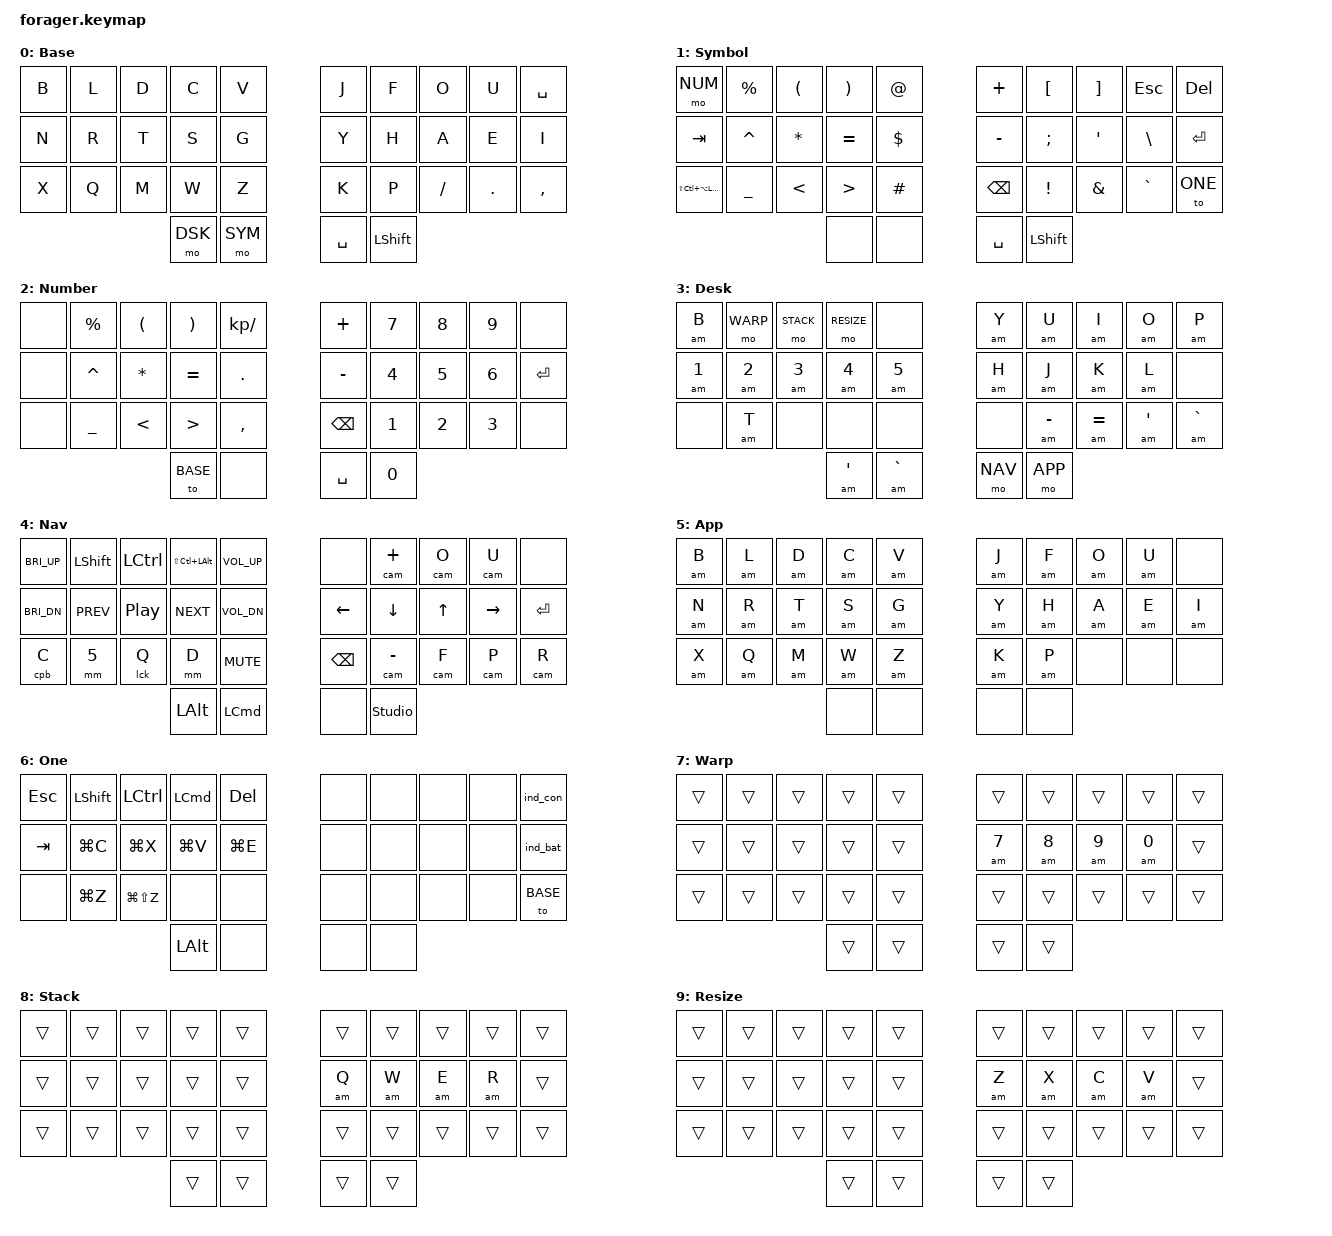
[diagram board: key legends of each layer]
// clang-format off
#include <behaviors.dtsi>
#include <dt-bindings/zmk/keys.h>
#include <dt-bindings/zmk/bt.h>
#include <dt-bindings/zmk/outputs.h>
#include <behaviors/rgbled_widget.dtsi>  // needed to use the behaviors

#define MEH   LS(LC(LALT))
// Hyper = Ctrl+Alt+Cmd+Shift, matching skhd's `hyper` keyword and the
// Voyager's LM()-based Hyper. Same nested-modifier-on-a-modifier-keycode
// trick as MEH above, one level deeper.
#define HYPER LS(LC(LA(LGUI)))

#define BASE   0
#define SYM    1
#define NUM    2
#define DSK    3
#define NAV    4
#define APP    5
#define ONE    6
#define WARP   7
#define STACK  8
#define RESIZE 9


/ {
    behaviors {

        // yabai scratchpad apps
        am: app_macro {
            compatible = "zmk,behavior-macro-one-param";
            wait-ms = <0>;
            tap-ms = <0>;
            #binding-cells = <1>;
            bindings
                = <&macro_press &kp LSHIFT &kp LCTRL &kp LALT &kp LCMD>
                , <&macro_param_1to1>
                , <&macro_tap &kp MACRO_PLACEHOLDER>
                , <&macro_release &kp LSHIFT &kp LCTRL &kp LALT &kp LCMD>
                ;
        };

        // NAV layer utils
        mm: misc_macro {
            compatible = "zmk,behavior-macro-one-param";
            wait-ms = <0>;
            tap-ms = <0>;
            #binding-cells = <1>;
            bindings
                = <&macro_press &kp LCMD &kp LSHIFT>
                , <&macro_param_1to1>
                , <&macro_tap &kp MACRO_PLACEHOLDER>
                , <&macro_release &kp LCMD &kp LSHIFT>
                ;
        };

        cpb: clipboard_macro {
            compatible = "zmk,behavior-macro-one-param";
            wait-ms = <0>;
            tap-ms = <0>;
            #binding-cells = <1>;
            bindings
                = <&macro_press &kp LCMD &kp LALT>
                , <&macro_param_1to1>
                , <&macro_tap &kp MACRO_PLACEHOLDER>
                , <&macro_release &kp LCMD &kp LALT>
                ;
        };


        lck: lock_screen_macro {
            compatible = "zmk,behavior-macro-one-param";
            wait-ms = <0>;
            tap-ms = <0>;
            #binding-cells = <1>;
            bindings
                = <&macro_press &kp LCMD &kp LCTRL>
                , <&macro_param_1to1>
                , <&macro_tap &kp MACRO_PLACEHOLDER>
                , <&macro_release &kp LCMD &kp LCTRL>
                ;
        };

        cam: camera_macro {
            compatible = "zmk,behavior-macro-one-param";
            wait-ms = <0>;
            tap-ms = <0>;
            #binding-cells = <1>;
            bindings
                = <&macro_press &kp LALT &kp LCTRL &kp LCMD>
                , <&macro_param_1to1>
                , <&kp MACRO_PLACEHOLDER>
                , <&macro_pause_for_release>
                , <&macro_release &kp LALT &kp LCTRL &kp LCMD>
                ;
        };


    };

    combos {
        compatible = "zmk,combos";
        combo_lcmd {
            timeout-ms = <35>;
            key-positions = <12 13>;
            bindings = <&kp LCMD>;
            layers = <0>;
        };

        combo_rcmd {
            timeout-ms = <35>;
            key-positions = <16 17>;
            bindings = <&kp LCMD>;
            layers = <0>;
        };

        combo_lalt {
            timeout-ms = <35>;
            key-positions = <11 12>;
            bindings = <&kp LALT>;
            layers = <0>;
        };

        combo_ralt {
            timeout-ms = <35>;
            key-positions = <17 18>;
            bindings = <&kp LALT>;
            layers = <0>;
        };

        combo_lctrl {
            timeout-ms = <35>;
            key-positions = <11 13>;
            bindings = <&kp LCTRL>;
            layers = <0>;
        };

        combo_rctrl {
            timeout-ms = <35>;
            key-positions = <16 18>;
            bindings = <&kp LCTRL>;
            layers = <0>;
        };

        combo_l_zellij_main {
            timeout-ms = <35>;
            key-positions = <11 12 13>;
            bindings = <&kp LS(LC(LCMD))>;
            layers = <0>;
        };

        combo_r_zellij_main {
            timeout-ms = <35>;
            key-positions = <16 17 18>;
            bindings = <&kp LS(LC(LCMD))>;
            layers = <0>;
        };

        combo_l_reset {
            timeout-ms = <35>;
            key-positions = <0 4>;
            bindings = <&sys_reset>;
            layers = <0>;
        };

        combo_r_reset {
            timeout-ms = <35>;
            key-positions = <5 9>;
            bindings = <&sys_reset>;
            layers = <0>;
        };

        combo_soft_off_l {
            timeout-ms = <25>;
            key-positions = <2 11 13>;
            bindings = <&soft_off>;
            layers = <0>;
        };
        
        combo_soft_off_r {
            timeout-ms = <25>;
            key-positions = <7 16 18>;
            bindings = <&soft_off>;
            layers = <0>;
        };
    };



    keymap {
        compatible = "zmk,keymap";

        base {
            display-name = "Base";
            bindings = <
            &kp B           &kp L           &kp D           &kp C           &kp V                                          &kp J           &kp F           &kp O           &kp U           &kp SPACE
            &kp N           &kp R           &kp T           &kp S           &kp G                                          &kp Y           &kp H           &kp A           &kp E           &kp I
            &kp X           &kp Q           &kp M           &kp W           &kp Z                                          &kp K           &kp P           &kp SLASH       &kp DOT      &kp COMMA
                                                            &mo DSK         &mo SYM                                        &kp SPACE       &kp LSHIFT
            >;
        };

        sym {
            display-name = "Symbol";
            bindings = <
            &mo NUM         &kp PERCENT     &kp LPAR        &kp RPAR        &kp AT                                         &kp PLUS        &kp LBKT        &kp RBKT        &kp ESC         &kp DELETE
            &kp TAB         &kp CARET       &kp STAR        &kp EQUAL    &kp DOLLAR                                        &kp MINUS       &kp SEMICOLON   &kp APOSTROPHE  &kp BACKSLASH   &kp ENTER
            &kp HYPER       &kp UNDER       &kp LT          &kp GT          &kp HASH                                       &kp BACKSPACE   &kp EXCL        &kp AMPERSAND   &kp GRAVE       &to ONE
                                                            &none           &none                                          &kp SPACE       &kp LSHIFT
            >;
        };

        num {
            display-name = "Number";
            bindings = <
            &none           &kp PERCENT     &kp LPAR        &kp RPAR        &kp KP_DIVIDE                                  &kp PLUS        &kp N7       &kp N8       &kp N9       &none
            &none           &kp CARET       &kp STAR        &kp EQUAL       &kp DOT                                        &kp MINUS       &kp N4       &kp N5       &kp N6       &kp ENTER
            &none           &kp UNDER       &kp LT          &kp GT          &kp COMMA                                      &kp BACKSPACE   &kp N1       &kp N2       &kp N3       &none
                                                            &to BASE        &none                                          &kp SPACE       &kp N0
            >;
        };

        dsk {
            display-name = "Desk";
            // DSK is now a bare &mo (no modifier baked into the hold), so
            // NAV — entered as a nested &mo on this same layer's thumb key —
            // never inherits a stuck modifier (a continuous Hyper hold here
            // would otherwise contaminate NAV's arrows/media keys/macros the
            // whole time NAV is active, the same class of bug already fixed
            // on the Voyager, but ZMK has no layer_state_set_user equivalent
            // to strip it mid-hold). Every action key below instead uses the
            // &am tap-macro (press Hyper, tap, release Hyper — already
            // proven on the APP layer) to add Hyper just for its own tap.
            // LSHIFT/LALT/LCMD used to live in the WARP/STACK/RESIZE slots
            // for composing extra modifiers on top of DSK's old Ctrl-only
            // hold; repurposed as the WARP/STACK/RESIZE momentary sublayers
            // (mirroring the Voyager's MO(9)/MO(11)/MO(10) row, same
            // move/stack/resize order), held with this hand and tapped with
            // H/J/K/L below.
            bindings = <
            &am B           &mo WARP        &mo STACK       &mo RESIZE      &none                                          &am Y           &am U           &am I           &am O           &am P
            &am N1          &am N2          &am N3          &am N4          &am N5                                         &am H           &am J           &am K           &am L           &none
            &none           &am T           &none           &none           &none                                          &none           &am MINUS       &am EQUAL       &am APOS        &am GRAVE
                                                            &am APOSTROPHE  &am GRAVE                                      &mo NAV         &mo APP
            >;
        };

        nav {
            display-name = "Nav";
            bindings = <
            &kp C_BRI_UP    &kp LSHIFT      &kp LCTRL       &kp MEH         &kp C_VOL_UP                                   &none           &cam PLUS    &cam O          &cam U          &none
            &kp C_BRI_DN    &kp C_PREV      &kp C_PP        &kp C_NEXT      &kp C_VOL_DN                                   &kp LEFT        &kp DOWN     &kp UP          &kp RIGHT       &kp ENTER
            &cpb C          &mm N5          &lck Q          &mm D           &kp C_MUTE                                     &kp BACKSPACE   &cam MINUS   &cam F          &cam P          &cam R
                                                            &kp LALT        &kp LCMD                                       &none           &studio_unlock
            >;
        };

        app {
            display-name = "App";
            bindings = <
            &am B           &am L           &am D           &am C           &am V                                          &am J           &am F           &am O           &am U           &none
            &am N           &am R           &am T           &am S           &am G                                          &am Y           &am H           &am A           &am E           &am I
            &am X           &am Q           &am M           &am W           &am Z                                          &am K           &am P           &none           &none           &none
                                                            &none           &none                                          &none           &none
            >;
        };


        one {
            display-name = "One";
            bindings = <
            &kp ESC         &kp LSHIFT      &kp LCTRL       &kp LCMD        &kp DEL                                        &none           &none           &none           &none           &ind_con
            &kp TAB         &kp LG(C)       &kp LG(X)       &kp LG(V)       &kp LG(E)                                      &none           &none           &none           &none           &ind_bat
            &none           &kp LG(Z)       &kp LG(LS(Z))   &none           &none                                          &none           &none           &none           &none           &to BASE
                                                            &kp LALT        &none                                          &none           &none
            >;
        };

        // WARP/STACK/RESIZE: momentary overlays on DSK, held from the
        // left-hand row above (WARP/STACK/RESIZE keys) and tapped here with
        // the right hand at the same H/J/K/L position DSK uses for focus,
        // in the same west/south/north/east order. DSK no longer holds
        // Hyper continuously (see the dsk layer comment), so each direction
        // key uses &am to add it just for its own tap — everything else
        // stays &trans.
        warp {
            display-name = "Warp";
            // swapped with resize below per request: warp now sends 7/8/9/0
            bindings = <
            &trans          &trans          &trans          &trans          &trans                                         &trans          &trans          &trans          &trans          &trans
            &trans          &trans          &trans          &trans          &trans                                         &am N7          &am N8          &am N9          &am N0          &trans
            &trans          &trans          &trans          &trans          &trans                                         &trans          &trans          &trans          &trans          &trans
                                                            &trans          &trans                                         &trans          &trans
            >;
        };

        stack {
            display-name = "Stack";
            bindings = <
            &trans          &trans          &trans          &trans          &trans                                         &trans          &trans          &trans          &trans          &trans
            &trans          &trans          &trans          &trans          &trans                                         &am Q           &am W           &am E           &am R           &trans
            &trans          &trans          &trans          &trans          &trans                                         &trans          &trans          &trans          &trans          &trans
                                                            &trans          &trans                                         &trans          &trans
            >;
        };

        resize {
            display-name = "Resize";
            // swapped with warp above per request: resize now sends z/x/c/v
            bindings = <
            &trans          &trans          &trans          &trans          &trans                                         &trans          &trans          &trans          &trans          &trans
            &trans          &trans          &trans          &trans          &trans                                         &am Z           &am X           &am C           &am V           &trans
            &trans          &trans          &trans          &trans          &trans                                         &trans          &trans          &trans          &trans          &trans
                                                            &trans          &trans                                         &trans          &trans
            >;
        };
    };

// soft_off {
//    hold-time-ms = <3000>; // Only turn off it the key is held for 5 seconds or longer.
// };

};

